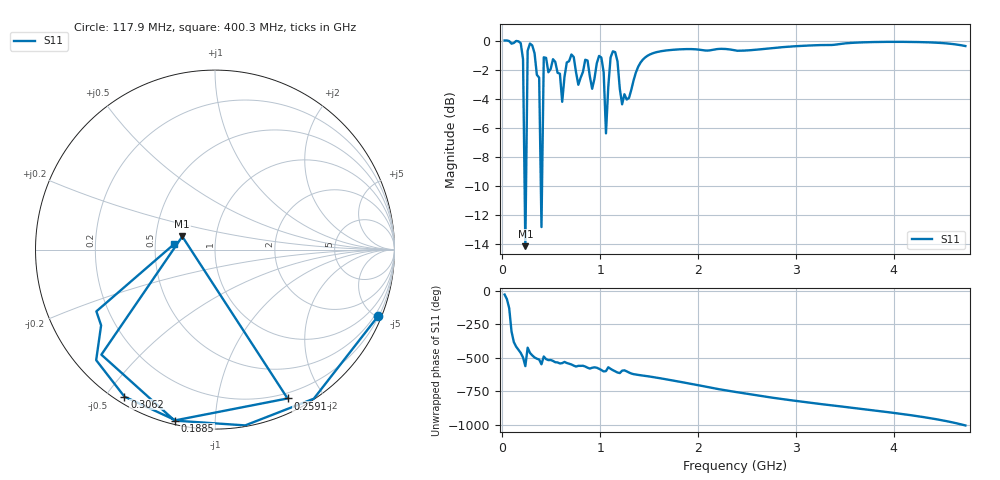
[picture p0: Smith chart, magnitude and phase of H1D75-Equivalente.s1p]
!Keysight Technologies N9923A: A.08.19
!Date: Thursday, 16 January 2020 11:30:00
!TimeZone: (GMT-03:00) Brasilia!Model: N9923A
!Serial: MY51491501
!GPS Latitude:
!GPS Longitude:
!GPS TimeStamp: 0001-01-01 00:00:00Z
!GPS Seconds Since Last Read: 0
!CHECKSUM:1078980270
!Correction: S11(ON U)
!S1P File: Measurement: S11:
# Hz S DB R 50
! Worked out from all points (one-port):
!   201 points, 23.74 MHz to 4.731 GHz, reference 50 ohm
!   lowest |S11| = -14.1 dB at 235.6 MHz (marker M1), VSWR 1.49, Z = 34.3 + j5.21 ohm
!   |S11| at or under -10 dB: 228 MHz to 242.8 MHz (14.83 MHz wide, 6.3 % of centre); 393.8 MHz to 406 MHz (12.18 MHz wide, 3.04 % of centre)
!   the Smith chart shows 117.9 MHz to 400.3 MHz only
!   S11 on the Smith chart (normalised r, x): 117.9 MHz: 0.26, -5.06; 188.5 MHz: 0.02, -0.79; 259.1 MHz: 0.14, -1.59; 306.2 MHz: 0.03, -0.56; 400.3 MHz: 0.63, +0.04
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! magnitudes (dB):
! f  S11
! 23.74 MHz  0.0
! 117.9 MHz  -0.2
! 188.5 MHz  -0.2
! 212 MHz  -1.3
! 235.6 MHz  -14.1
! 259.1 MHz  -0.7
! 306.2 MHz  -0.3
! 376.8 MHz  -2.6
! 400.3 MHz  -12.8
! 423.9 MHz  -1.2
! 541.5 MHz  -1.5
! 612.1 MHz  -4.2
! 706.3 MHz  -1.0
! 776.9 MHz  -3.0
! 871 MHz  -1.4
! 918.1 MHz  -3.3
! 1.012 GHz  -1.2
! 1.036 GHz  -2.2
! 1.059 GHz  -6.4
! 1.106 GHz  -1.2
! 1.153 GHz  -0.8
! 1.201 GHz  -3.3
! 1.789 GHz  -0.6
! 2.377 GHz  -0.7
! 2.966 GHz  -0.4
! 3.554 GHz  -0.2
! 4.143 GHz  -0.1
! 4.731 GHz  -0.4
